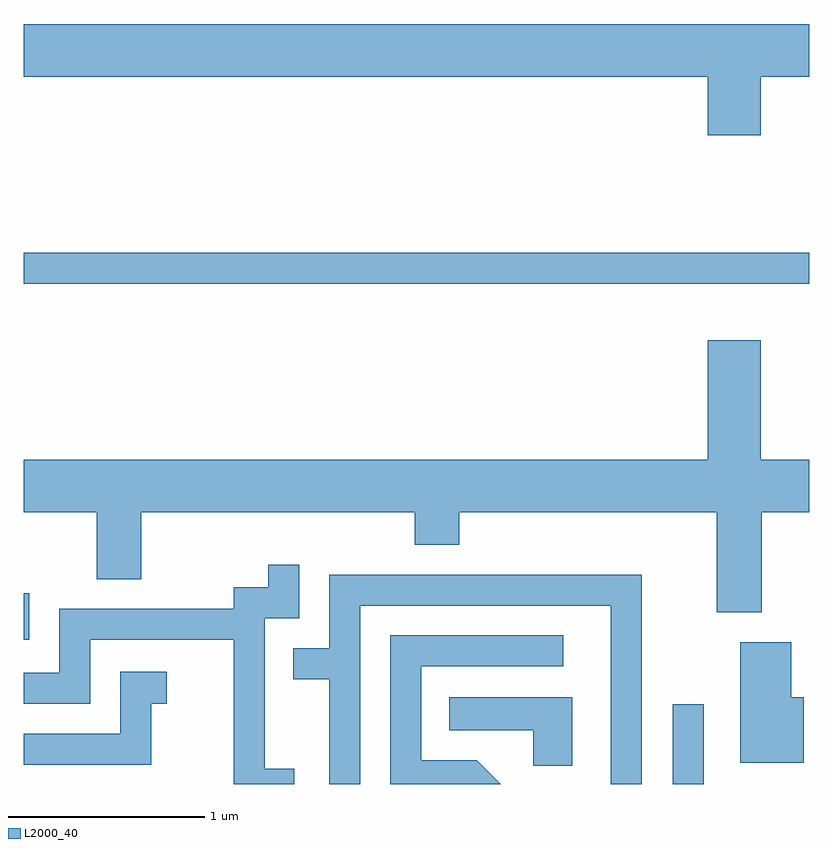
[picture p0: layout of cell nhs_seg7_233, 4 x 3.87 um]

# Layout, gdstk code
import gdstk
lib = gdstk.Library(unit=1e-6, precision=1e-09)
def R(c, l, rs):  # rectangles x0, y0, x1, y1
    for r in rs: c.add(gdstk.rectangle(r[:2], r[2:], *l))
def P(c, l, *ps):  # polygons
    for p in ps: c.add(gdstk.Polygon(p, *l))
L2000_40 = (2000, 40)

nhs_seg7_233 = lib.new_cell('nhs_seg7_233')
R(nhs_seg7_233, L2000_40, [(194.916,1726.252,195.074,1726.658), (191.611,1726.986,191.639,1727.223), (191.611,1728.801,195.611,1728.959)])
P(nhs_seg7_233, L2000_40, [(195.364,1729.856),(195.611,1729.856),(195.611,1730.124),(191.611,1730.124),(191.611,1729.856),(195.096,1729.856),(195.096,1729.556),(195.364,1729.556)],
  [(195.369,1727.636),(195.611,1727.636),(195.611,1727.904),(195.364,1727.904),(195.364,1728.514),(195.096,1728.514),(195.096,1727.904),(191.611,1727.904),(191.611,1727.636),(191.981,1727.636),(191.981,1727.296),(192.209,1727.296),(192.209,1727.636),(193.601,1727.636),(193.601,1727.471),(193.829,1727.471),(193.829,1727.636),(195.141,1727.636),(195.141,1727.126),(195.369,1727.126)],
  [(192.989,1726.329),(192.839,1726.329),(192.839,1727.096),(193.014,1727.096),(193.014,1727.368),(192.856,1727.368),(192.856,1727.254),(192.681,1727.254),(192.681,1727.144),(191.791,1727.144),(191.791,1726.819),(191.611,1726.819),(191.611,1726.661),(191.949,1726.661),(191.949,1726.986),(192.681,1726.986),(192.681,1726.252),(192.989,1726.252)],
  [(193.324,1727.161),(194.601,1727.161),(194.601,1726.252),(194.759,1726.252),(194.759,1727.319),(193.166,1727.319),(193.166,1726.944),(192.983,1726.944),(192.983,1726.786),(193.166,1726.786),(193.166,1726.252),(193.324,1726.252)],
  [(193.917,1726.374),(193.634,1726.374),(193.634,1726.851),(194.358,1726.851),(194.358,1727.009),(193.476,1727.009),(193.476,1726.252),(194.039,1726.252)],
  [(195.584,1726.694),(195.519,1726.694),(195.519,1726.974),(195.261,1726.974),(195.261,1726.361),(195.584,1726.361)],
  [(192.259,1726.661),(192.338,1726.661),(192.338,1726.824),(192.101,1726.824),(192.101,1726.509),(191.611,1726.509),(191.611,1726.351),(192.259,1726.351)],
  [(194.404,1726.694),(193.778,1726.694),(193.778,1726.526),(194.206,1726.526),(194.206,1726.346),(194.404,1726.346)])

lib.write_gds('nhs_seg7_233.gds')
